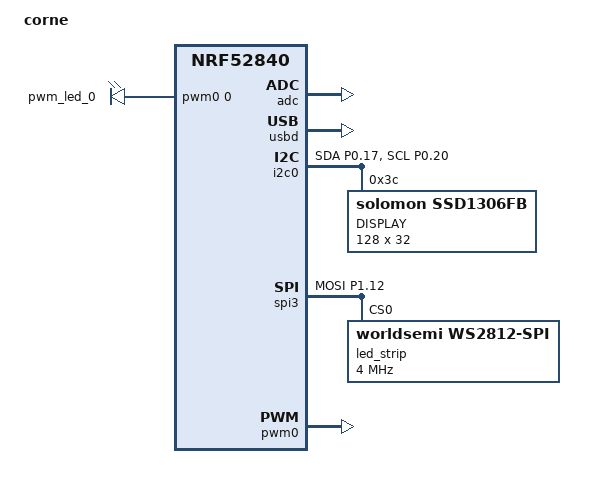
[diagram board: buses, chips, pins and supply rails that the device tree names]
/*
*
* Copyright (c) 2021 Darryl deHaan
* SPDX-License-Identifier: MIT
*
*/

/dts-v1/;
#include <physical_layouts.dtsi>
#include <layouts/foostan/corne/6column.dtsi>
#include <nordic/nrf52840_qiaa.dtsi>
#include <dt-bindings/led/led.h>
#include <dt-bindings/zmk/matrix_transform.h>


// Assigning suitable kscan and matrix transforms
&foostan_corne_6col_layout {
    kscan = <&kscan0>;
};

/ {
    model = "corne";
    compatible = "corne";

    chosen {
        zephyr,code-partition = &code_partition;
        zephyr,sram = &sram0;
        zephyr,flash = &flash0;
        zmk,kscan = &kscan0;
        zephyr,display = &oled;
        zephyr,console = &cdc_acm_uart;
        zmk,underglow = &led_strip;
        zmk,backlight = &backlight;
    };

	left_encoder: encoder_left {
		compatible = "alps,ec11";
		label = "LEFT_ENCODER";
		resolution = <4>;
                 steps = <40>;
		status = "disabled";
	};

    sensors {
		compatible = "zmk,keymap-sensors";
		sensors = <&left_encoder>;
	};
};

&adc {
    status = "okay";
};

&gpiote {
    status = "okay";
};

&gpio0 {
    status = "okay";
};

&gpio1 {
    status = "okay";
};

&usbd {
    status = "okay";
    cdc_acm_uart: cdc_acm_uart {
        compatible = "zephyr,cdc-acm-uart";
    };
};

zephyr_udc0: &usbd {
    status = "okay";
};

&flash0 {
    /*
     * For more information, see:
     * http://docs.zephyrproject.org/latest/devices/dts/flash_partitions.html
     */
    partitions {
        compatible = "fixed-partitions";
        #address-cells = <1>;
        #size-cells = <1>;

        sd_partition: partition@0 {
            reg = <0x00000000 0x00026000>;
        };
        code_partition: partition@26000 {
            reg = <0x00026000 0x000c6000>;
        };

        /*
         * The flash starting at 0x000ec000 and ending at
         * 0x000f3fff is reserved for use by the application.
         */

        /*
         * Storage partition will be used by FCB/LittleFS/NVS
         * if enabled.
         */
        storage_partition: partition@ec000 {
            reg = <0x000ec000 0x00008000>;
        };

        boot_partition: partition@f4000 {
            reg = <0x000f4000 0x0000c000>;
        };
    };
};

&pinctrl {
    i2c0_default: i2c0_default {
        group1 {
            psels = <NRF_PSEL(TWIM_SDA, 0, 17)>,
                <NRF_PSEL(TWIM_SCL, 0, 20)>;
        };
    };

    i2c0_sleep: i2c0_sleep {
        group1 {
            psels = <NRF_PSEL(TWIM_SDA, 0, 17)>,
                <NRF_PSEL(TWIM_SCL, 0, 20)>;
            low-power-enable;
        };
    };

    spi3_default: spi3_default {
        group1 {
            psels = <NRF_PSEL(SPIM_MOSI, 1, 12)>; // WS2812_VEXT_DATA
        };
    };

    spi3_sleep: spi3_sleep {
        group1 {
            psels = <NRF_PSEL(SPIM_MOSI, 1, 12)>;
            low-power-enable;
        };
    };
};

&i2c0 {
	status = "okay";

	compatible = "nordic,nrf-twi";
	pinctrl-0 = <&i2c0_default>;
	pinctrl-1 = <&i2c0_sleep>;
	pinctrl-names = "default", "sleep";
	oled: ssd1306@3c {
		compatible = "solomon,ssd1306fb";
		reg = <0x3c>;
		label = "DISPLAY";
		width = <128>;
		height = <32>;
		segment-offset = <0>;
		page-offset = <0>;
		display-offset = <0>;
		multiplex-ratio = <31>;
		segment-remap;
		com-invdir;
		com-sequential;
		prechargep = <0x22>;
	};
};

&spi3 {
    compatible = "nordic,nrf-spim";
    status = "okay";

    pinctrl-0 = <&spi3_default>;
    pinctrl-1 = <&spi3_sleep>;
    pinctrl-names = "default", "sleep";

    led_strip: ws2812@0 {
        compatible = "worldsemi,ws2812-spi";

        /* SPI */
        reg = <0>; /* ignored, but necessary for SPI bindings */
        spi-max-frequency = <4000000>;

        /* WS2812 */
        chain-length = <6>; 
        spi-one-frame = <0x70>;
        spi-zero-frame = <0x40>;

        color-mapping = <LED_COLOR_ID_GREEN LED_COLOR_ID_RED LED_COLOR_ID_BLUE>;
    };
};
/ {
    backlight: pwmleds {
        compatible = "pwm-leds";
        pwm_led_0 {
            pwms = <&pwm0 0 PWM_MSEC(1) PWM_POLARITY_NORMAL>;
        };
    };
};
&pwm0 {
    status = "okay";
    pinctrl-0 = <&pwm0_default>;
    pinctrl-1 = <&pwm0_sleep>;
    pinctrl-names = "default", "sleep";
};
